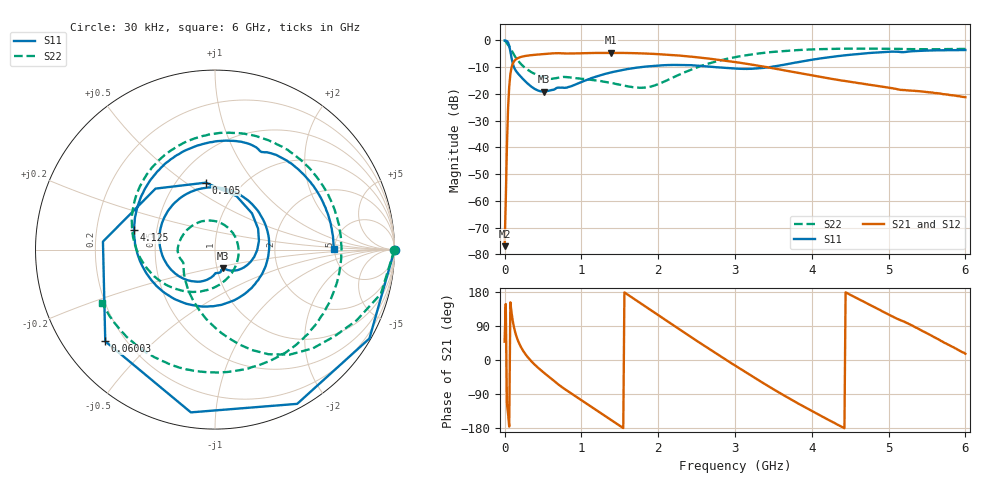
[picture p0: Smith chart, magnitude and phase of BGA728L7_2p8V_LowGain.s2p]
!  INFINEON TECHNOLOGIES Silicon Discrete Components
!  BGA728L7
!  Vcc=2.8V, Icc=0.54mA, Low Gain Mode (Vpon=2.8V, VGS=2.8V), VHF application
!  Date: April 2008
# HZ  S  DB R  50
!Freq	DBS11	AngS11	DBS21	AngS21	DBS12	AngS12	DBS22	AngS22
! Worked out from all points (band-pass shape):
!   401 points, 30 kHz to 6 GHz, reference 50 ohm
!   highest |S21| = -4.62 dB at 1.38 GHz (marker M1); lowest = -76.9 dB at 30 kHz (marker M2)
!   |S21| within 3 dB of the highest: 128.3 MHz to 2.885 GHz (2.756 GHz wide, 183 % of centre)
!   lowest |S11| = -19.1 dB at 510 MHz (marker M3), VSWR 1.25, Z = 53.4 - j11 ohm
!   |S11| at or under -10 dB: 122.2 MHz to 1.767 GHz (1.645 GHz wide, 174 % of centre); 2.757 GHz to 3.445 GHz (687.7 MHz wide, 22.2 % of centre)
!   |S22| runs from -17.7 to 0.0 dB; largest |S21 - S12| = 0.0025
!   S11 on the Smith chart (normalised r, x): 30 kHz: open; 60.03 MHz: 0.13, -0.36; 105 MHz: 0.69, +0.60; 4.125 GHz: 0.37, +0.10; 6 GHz: 4.92, +0.05
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30000  0.00 -0.0  -76.95 48.3  -70.88 -160.3  -0.00 -0.0
3.002985e7  -0.23 -62.0  -39.76 -113.7  -40.02 -116.0  -1.09 -26.5
6.00297e7  -1.97 -140.1  -17.29 -175.7  -17.32 -175.4  -2.22 -45.3
7.502962e7  -4.07 175.9  -12.63 152.2  -12.66 152.5  -2.88 -54.6
1.050295e8  -8.48 97.8  -8.74 104.7  -8.75 104.8  -4.49 -69.8
1.500292e8  -11.47 25.9  -7.00 64.8  -7.02 64.9  -6.61 -85.5
2.550287e8  -14.89 -36.7  -5.87 20.0  -5.87 20.1  -9.96 -110.9
5.100274e8  -19.11 -66.6  -5.07 -33.3  -5.07 -33.2  -13.85 -149.5
7.200264e8  -17.66 -82.8  -4.78 -67.6  -4.77 -67.5  -13.80 -170.2
1.005025e9  -15.49 -102.4  -4.78 -106.5  -4.78 -106.5  -14.36 148.6
1.380023e9  -11.99 -144.5  -4.62 -157.3  -4.61 -157.2  -15.84 94.5
1.680022e9  -10.35 179.1  -4.75 162.1  -4.74 162.1  -17.49 35.1
2.01002e9  -9.36 138.1  -5.13 117.2  -5.12 117.2  -16.24 -48.1
2.550017e9  -9.50 64.2  -6.43 44.2  -6.43 44.0  -9.61 -142.6
3.000015e9  -10.52 -9.7  -8.07 -14.5  -8.09 -14.5  -6.28 162.6
3.495013e9  -9.76 -102.5  -10.42 -76.5  -10.41 -76.5  -4.28 110.9
4.00501e9  -7.20 -179.0  -13.10 -135.1  -13.08 -135.2  -3.33 61.1
4.125009e9  -6.66 166.5  -13.71 -148.0  -13.68 -148.2  -3.24 49.6
4.590007e9  -5.09 117.7  -15.88 162.6  -15.87 162.4  -3.06 3.9
5.010005e9  -4.21 79.1  -17.69 119.4  -17.75 118.9  -3.13 -40.6
5.505002e9  -3.78 39.9  -19.27 69.7  -19.39 69.2  -3.29 -96.3
6e9  -3.58 0.2  -21.22 16.3  -21.38 16.7  -3.17 -154.6
